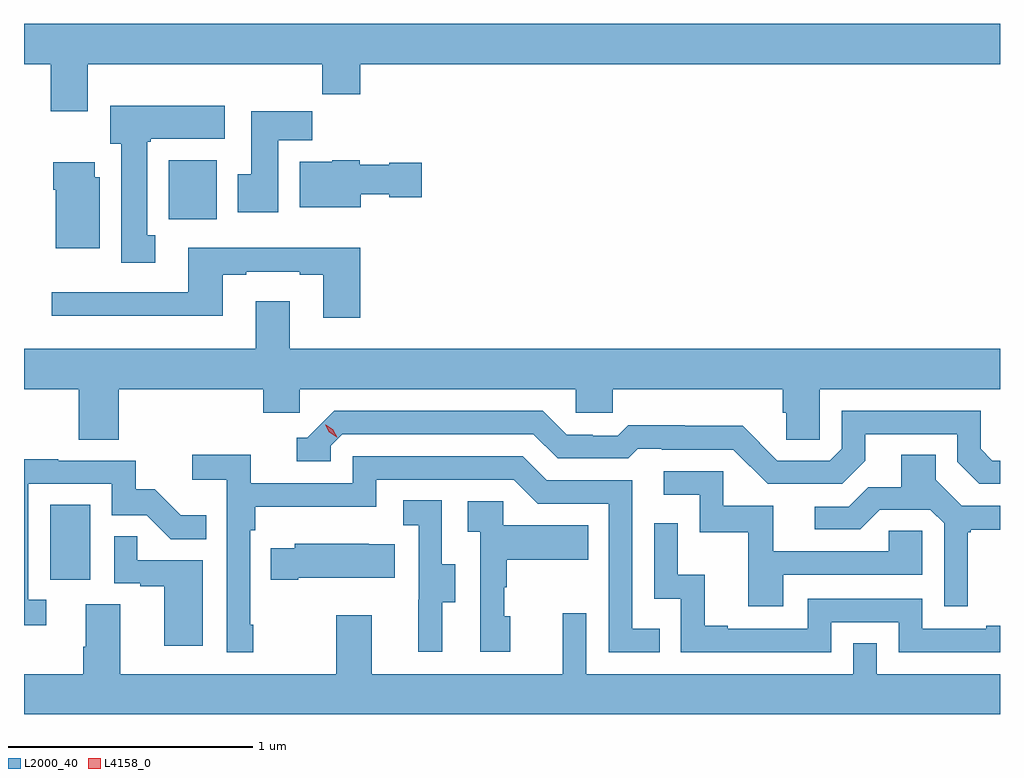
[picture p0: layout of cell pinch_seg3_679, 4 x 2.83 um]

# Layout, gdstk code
import gdstk
lib = gdstk.Library(unit=1e-6, precision=1e-09)
def R(c, l, rs):  # rectangles x0, y0, x1, y1
    for r in rs: c.add(gdstk.rectangle(r[:2], r[2:], *l))
def P(c, l, *ps):  # polygons
    for p in ps: c.add(gdstk.Polygon(p, *l))
L2000_40 = (2000, 40)
L4158_0 = (4158, 0)

pinch_seg3_679 = lib.new_cell('pinch_seg3_679')
R(pinch_seg3_679, L2000_40, [(1125.026,673.494,1125.19,673.801), (1125.512,674.972,1125.709,675.214)])
P(pinch_seg3_679, L2000_40, [(1125.181,675.608),(1126.141,675.608),(1126.141,675.484),(1126.298,675.484),(1126.298,675.608),(1128.919,675.608),(1128.919,675.772),(1124.919,675.772),(1124.919,675.608),(1125.029,675.608),(1125.029,675.414),(1125.181,675.414)],
  [(1125.457,674.906),(1125.424,674.906),(1125.424,675.289),(1125.438,675.289),(1125.438,675.302),(1125.742,675.302),(1125.742,675.436),(1125.272,675.436),(1125.272,675.282),(1125.317,675.282),(1125.317,674.793),(1125.457,674.793)],
  [(1125.961,675.296),(1126.1,675.296),(1126.1,675.415),(1125.851,675.415),(1125.851,675.156),(1125.794,675.156),(1125.794,675),(1125.961,675)],
  [(1126.3,675.074),(1126.416,675.074),(1126.416,675.062),(1126.549,675.062),(1126.549,675.204),(1126.416,675.204),(1126.416,675.196),(1126.296,675.196),(1126.296,675.214),(1126.182,675.214),(1126.182,675.208),(1126.049,675.208),(1126.049,675.02),(1126.3,675.02)],
  [(1125.229,675.144),(1125.208,675.144),(1125.208,675.205),(1125.038,675.205),(1125.038,675.092),(1125.05,675.092),(1125.05,674.852),(1125.229,674.852)],
  [(1126.298,674.854),(1125.593,674.854),(1125.593,674.673),(1125.033,674.673),(1125.033,674.576),(1125.733,674.576),(1125.733,674.745),(1125.829,674.745),(1125.829,674.757),(1126.049,674.757),(1126.049,674.745),(1126.145,674.745),(1126.145,674.568),(1126.298,674.568)],
  [(1125.308,674.276),(1125.899,674.276),(1125.899,674.178),(1126.05,674.178),(1126.05,674.276),(1127.181,674.276),(1127.181,674.178),(1127.331,674.178),(1127.331,674.276),(1128.029,674.276),(1128.029,674.178),(1128.043,674.178),(1128.043,674.068),(1128.18,674.068),(1128.18,674.276),(1128.919,674.276),(1128.919,674.44),(1126.009,674.44),(1126.009,674.635),(1125.869,674.635),(1125.869,674.44),(1124.919,674.44),(1124.919,674.276),(1125.143,674.276),(1125.143,674.068),(1125.308,674.068)],
  [(1128.367,673.981),(1128.367,674.091),(1128.744,674.091),(1128.744,673.977),(1128.834,673.887),(1128.919,673.887),(1128.919,673.983),(1128.888,673.983),(1128.84,674.031),(1128.84,674.187),(1128.27,674.187),(1128.27,674.031),(1128.222,673.983),(1128.006,673.983),(1127.864,674.125),(1127.628,674.125),(1127.628,674.128),(1127.395,674.128),(1127.353,674.085),(1127.25,674.085),(1127.25,674.088),(1127.143,674.088),(1127.044,674.187),(1126.191,674.187),(1126.08,674.076),(1126.037,674.076),(1126.037,673.98),(1126.176,673.98),(1126.176,674.043),(1126.224,674.091),(1127.007,674.091),(1127.106,673.992),(1127.395,673.992),(1127.434,674.031),(1127.533,674.031),(1127.533,674.028),(1127.826,674.028),(1127.967,673.887),(1128.273,673.887)],
  [(1125.859,673.309),(1125.846,673.309),(1125.846,673.697),(1125.866,673.697),(1125.866,673.793),(1126.362,673.793),(1126.362,673.905),(1126.926,673.905),(1127.025,673.806),(1127.316,673.806),(1127.316,673.197),(1127.525,673.197),(1127.525,673.293),(1127.412,673.293),(1127.412,673.902),(1127.062,673.902),(1126.963,674.001),(1126.266,674.001),(1126.266,673.89),(1125.848,673.89),(1125.848,674.006),(1125.609,674.006),(1125.609,673.904),(1125.75,673.904),(1125.75,673.197),(1125.859,673.197)],
  [(1128.787,673.689),(1128.799,673.689),(1128.799,673.7),(1128.919,673.7),(1128.919,673.797),(1128.762,673.797),(1128.655,673.904),(1128.655,674.006),(1128.515,674.006),(1128.515,673.874),(1128.38,673.874),(1128.3,673.794),(1128.159,673.794),(1128.159,673.701),(1128.346,673.701),(1128.427,673.782),(1128.633,673.782),(1128.69,673.725),(1128.69,673.386),(1128.787,673.386)],
  [(1125.01,673.413),(1124.937,673.413),(1124.937,673.887),(1125.279,673.887),(1125.279,673.758),(1125.423,673.758),(1125.521,673.66),(1125.665,673.66),(1125.665,673.759),(1125.561,673.759),(1125.454,673.866),(1125.378,673.866),(1125.378,673.983),(1125.059,673.983),(1125.059,673.988),(1124.919,673.988),(1124.919,673.308),(1125.01,673.308)],
  [(1128.031,673.515),(1128.6,673.515),(1128.6,673.695),(1128.463,673.695),(1128.463,673.611),(1127.989,673.611),(1127.989,673.797),(1127.784,673.797),(1127.784,673.938),(1127.541,673.938),(1127.541,673.842),(1127.688,673.842),(1127.688,673.689),(1127.887,673.689),(1127.887,673.386),(1128.031,673.386)],
  [(1126.633,673.402),(1126.687,673.402),(1126.687,673.557),(1126.632,673.557),(1126.632,673.82),(1126.473,673.82),(1126.473,673.717),(1126.536,673.717),(1126.536,673.413),(1126.535,673.413),(1126.535,673.2),(1126.633,673.2)],
  [(1126.912,673.344),(1126.887,673.344),(1126.887,673.463),(1126.897,673.463),(1126.897,673.577),(1127.231,673.577),(1127.231,673.717),(1126.884,673.717),(1126.884,673.815),(1126.737,673.815),(1126.737,673.691),(1126.788,673.691),(1126.788,673.2),(1126.912,673.2)],
  [(1128.228,673.32),(1128.504,673.32),(1128.504,673.197),(1128.919,673.197),(1128.919,673.306),(1128.863,673.306),(1128.863,673.293),(1128.6,673.293),(1128.6,673.416),(1128.132,673.416),(1128.132,673.293),(1127.803,673.293),(1127.803,673.306),(1127.708,673.306),(1127.708,673.514),(1127.598,673.514),(1127.598,673.726),(1127.502,673.726),(1127.502,673.416),(1127.61,673.416),(1127.61,673.197),(1128.228,673.197)],
  [(1125.652,673.575),(1125.383,673.575),(1125.383,673.673),(1125.288,673.673),(1125.288,673.479),(1125.395,673.479),(1125.395,673.467),(1125.494,673.467),(1125.494,673.224),(1125.652,673.224)],
  [(1126.042,673.502),(1126.439,673.502),(1126.439,673.639),(1126.331,673.639),(1126.331,673.642),(1126.029,673.642),(1126.029,673.624),(1125.931,673.624),(1125.931,673.495),(1126.042,673.495)],
  [(1128.919,673.108),(1128.414,673.108),(1128.414,673.235),(1128.318,673.235),(1128.318,673.108),(1127.223,673.108),(1127.223,673.357),(1127.126,673.357),(1127.126,673.108),(1126.345,673.108),(1126.345,673.348),(1126.198,673.348),(1126.198,673.108),(1125.313,673.108),(1125.313,673.394),(1125.173,673.394),(1125.173,673.22),(1125.161,673.22),(1125.161,673.108),(1124.919,673.108),(1124.919,672.944),(1128.919,672.944)])
P(pinch_seg3_679, L4158_0, [(1126.201,674.078),(1126.171,674.098),(1126.154,674.13),(1126.154,674.13),(1126.155,674.13),(1126.185,674.111),(1126.202,674.079),(1126.202,674.078)])

lib.write_gds('pinch_seg3_679.gds')
